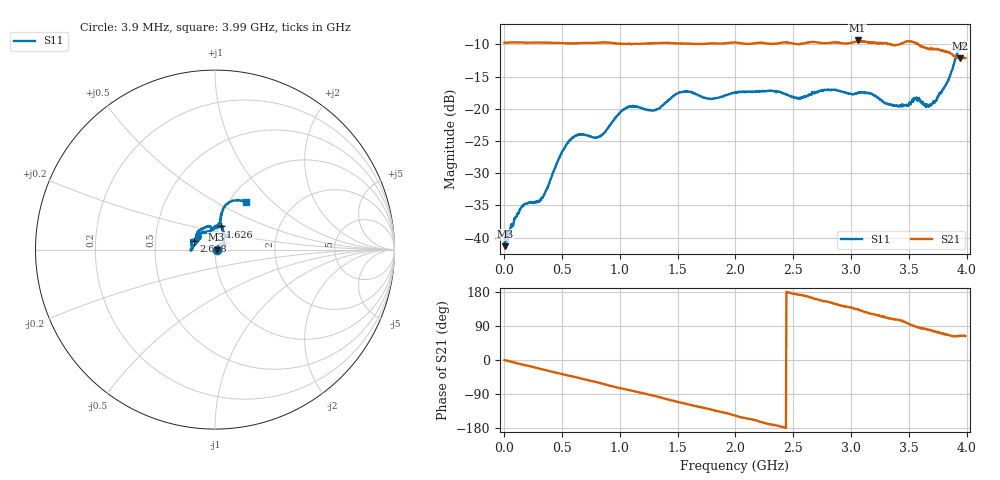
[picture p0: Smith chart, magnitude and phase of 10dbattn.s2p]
# HZ S RI R 50
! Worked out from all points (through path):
!   1023 points, 3.9 MHz to 3.99 GHz, reference 50 ohm
!   highest |S21| = -9.40 dB at 3.058 GHz (marker M1); lowest = -12.2 dB at 3.947 GHz (marker M2)
!   group delay of S21, straight-line fit = 210 ps
!   lowest |S11| = -41.3 dB at 7.8 MHz (marker M3), VSWR 1.02, Z = 50.9 + j0.056 ohm
!   |S11| at or under -10 dB: start of sweep to end of sweep
!   S12 and S22 are empty: the file has one direction only
!   S11 on the Smith chart (normalised r, x): 3.9 MHz: 1.02, +0.00; 1.626 GHz: 1.03, +0.27; 2.648 GHz: 0.79, +0.08; 3.99 GHz: 1.19, +0.70
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3900000  0.00984 0.000239  0.3253 -0.00141  0 0  0 0
7800000  0.00858 0.00055  0.3253 -0.00305  0 0  0 0
1.599e8  0.0164 0.0064  0.3193 -0.0685  0 0  0 0
3.315e8  0.0171 0.0111  0.2964 -0.1369  0 0  0 0
5.499e8  0.044 0.0323  0.2435 -0.2104  0 0  0 0
6.708e8  0.0566 0.0269  0.2116 -0.2447  0 0  0 0
8.346e8  0.0497 0.0371  0.1569 -0.286  0 0  0 0
1.0764e9  0.0667 0.0796  0.0605 -0.313  0 0  0 0
1.3338e9  0.0515 0.0861  -0.0409 -0.3203  0 0  0 0
1.5054e9  0.0416 0.1255  -0.1158 -0.3001  0 0  0 0
1.6263e9  0.0316 0.1292  -0.1576 -0.2769  0 0  0 0
1.7901e9  -0.00323 0.1193  -0.2095 -0.2437  0 0  0 0
1.9968e9  -0.0297 0.1298  -0.2723 -0.1805  0 0  0 0
2.6481e9  -0.118 0.0496  -0.3179 0.0832  0 0  0 0
2.6637e9  -0.1228 0.0555  -0.3167 0.0877  0 0  0 0
3.0576e9  -0.1329 8.16e-05  -0.2391 0.24  0 0  0 0
3.3267e9  -0.0996 0.0425  -0.1064 0.3014  0 0  0 0
3.51e9  -0.0848 0.074  -0.0232 0.3333  0 0  0 0
3.705e9  -0.0228 0.1079  0.0654 0.2806  0 0  0 0
3.8298e9  0.027 0.1565  0.1058 0.2551  0 0  0 0
3.9468e9  0.116 0.2744  0.1082 0.2209  0 0  0 0
3.9897e9  0.17 0.2653  0.1125 0.2204  0 0  0 0
